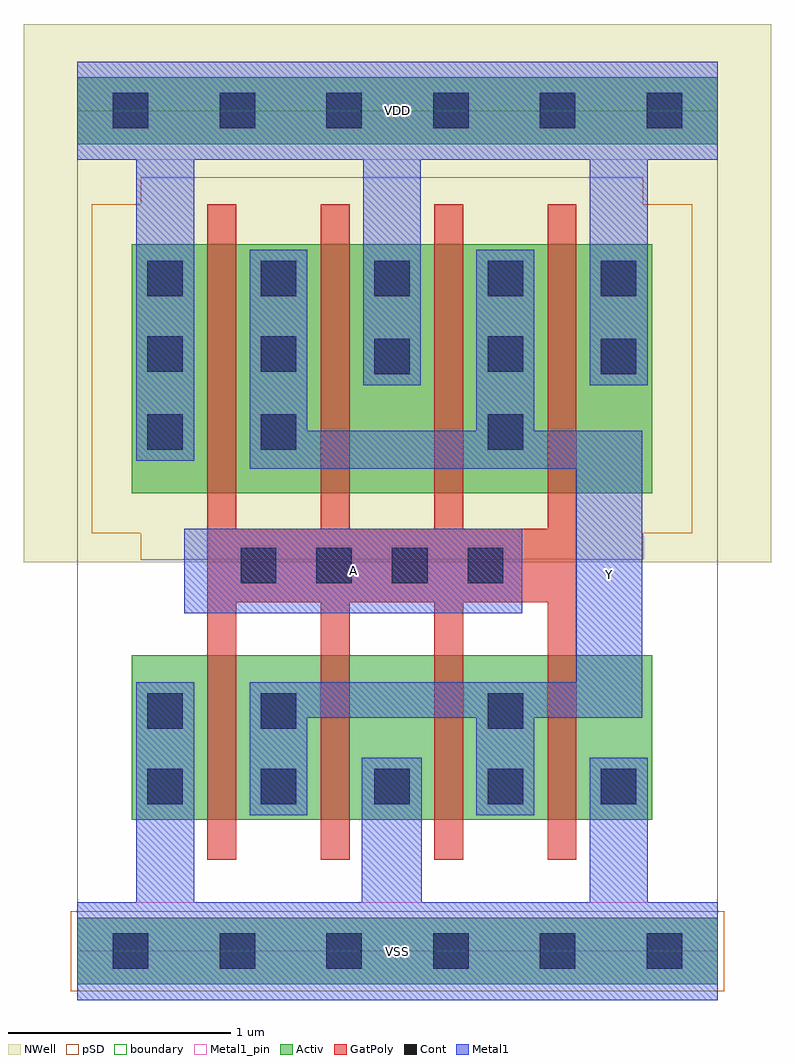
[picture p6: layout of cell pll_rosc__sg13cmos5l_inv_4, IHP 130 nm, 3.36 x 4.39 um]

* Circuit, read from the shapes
.subckt pll_rosc__sg13cmos5l_inv_4 A VDD VSS Y
XM1 Y A VSS VSS sg13_lv_nmos w=0.74u l=0.13u m=4
XM2 Y A VDD VDD sg13_lv_pmos w=1.12u l=0.13u m=4
.ends

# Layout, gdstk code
import gdstk
lib = gdstk.Library(unit=1e-6, precision=1e-09)
def R(c, l, rs):  # rectangles x0, y0, x1, y1
    for r in rs: c.add(gdstk.rectangle(r[:2], r[2:], *l))
def A(c, l, x, y, w, h, nx, ny, dx, dy):  # array of equal rectangles
    R(c, l, [(x+i*dx, y+j*dy, x+i*dx+w, y+j*dy+h) for i in range(nx) for j in range(ny)])
Activ = (1, 0)
GatPoly = (5, 0)
Cont = (6, 0)
Metal1 = (8, 0)
Metal1_pin = (8, 2)
pSD = (14, 0)
NWell = (31, 0)
boundary = (189, 4)

pll_rosc__sg13cmos5l_inv = lib.new_cell('pll_rosc__sg13cmos5l_inv_4')
R(pll_rosc__sg13cmos5l_inv, Activ, [(0,-0.15,2.88,0.15), (0.245,0.59,2.585,1.33), (0.245,2.06,2.585,3.18), (0,3.63,2.88,3.93)])
A(pll_rosc__sg13cmos5l_inv, GatPoly, 0.585, 0.41, 0.13, 1.16, 4, 1, 0.51, 0)
A(pll_rosc__sg13cmos5l_inv, GatPoly, 0.585, 1.9, 0.13, 1.46, 4, 1, 0.51, 0)
R(pll_rosc__sg13cmos5l_inv, GatPoly, [(0.585,1.57,2.245,1.9)])
A(pll_rosc__sg13cmos5l_inv, Cont, 0.16, -0.08, 0.16, 0.16, 6, 2, 0.48, 3.78)
A(pll_rosc__sg13cmos5l_inv, Cont, 0.315, 0.66, 0.16, 0.16, 5, 2, 0.51, 2.285)
A(pll_rosc__sg13cmos5l_inv, Cont, 0.735, 1.655, 0.16, 0.16, 4, 1, 0.34, 0)
R(pll_rosc__sg13cmos5l_inv, Cont, [(0.315,1,0.475,1.16), (0.825,1,0.985,1.16), (1.845,1,2.005,1.16), (0.315,2.255,0.475,2.415), (0.825,2.255,0.985,2.415), (1.845,2.255,2.005,2.415), (1.335,2.595,1.495,2.755), (2.355,2.595,2.515,2.755), (0.315,2.605,0.475,2.765), (0.825,2.605,0.985,2.765), (1.845,2.605,2.005,2.765)])
R(pll_rosc__sg13cmos5l_inv, Metal1, [(0,-0.22,2.88,0.22), (0.265,0.22,0.525,1.21), (1.28,0.22,1.55,0.87), (2.305,0.22,2.565,0.87), (0.775,0.61,1.035,1.05), (1.795,0.61,2.055,1.05), (0.775,1.05,2.54,1.21), (2.245,1.21,2.54,2.17), (0.48,1.52,2,1.9), (0.775,2.17,2.54,2.34), (0.265,2.205,0.525,3.56), (0.775,2.34,1.035,3.155), (1.795,2.34,2.055,3.155), (1.285,2.545,1.545,3.56), (2.305,2.545,2.565,3.56), (0,3.56,2.88,4)])
R(pll_rosc__sg13cmos5l_inv, Metal1_pin, [(0,-0.22,2.88,0.22), (2.245,1.05,2.54,2.34), (0.48,1.52,2,1.9), (0,3.56,2.88,4)])
R(pll_rosc__sg13cmos5l_inv, pSD, [(-0.03,-0.18,2.91,0.18), (0.285,1.76,2.545,1.88), (0.065,1.88,2.765,3.36), (0.285,3.36,2.545,3.48)])
R(pll_rosc__sg13cmos5l_inv, NWell, [(-0.24,1.75,3.12,4.17)])
R(pll_rosc__sg13cmos5l_inv, boundary, [(0,0,2.88,3.78)])
pll_rosc__sg13cmos5l_inv.add(gdstk.Label('A', (1.24,1.71), layer=8, texttype=25))
pll_rosc__sg13cmos5l_inv.add(gdstk.Label('VDD', (1.44,3.78), layer=8, texttype=25))
pll_rosc__sg13cmos5l_inv.add(gdstk.Label('Y', (2.392,1.695), layer=8, texttype=25))
pll_rosc__sg13cmos5l_inv.add(gdstk.Label('VSS', (1.44,0), layer=8, texttype=25))

lib.write_gds('pll_rosc__sg13cmos5l_inv_4.gds')
